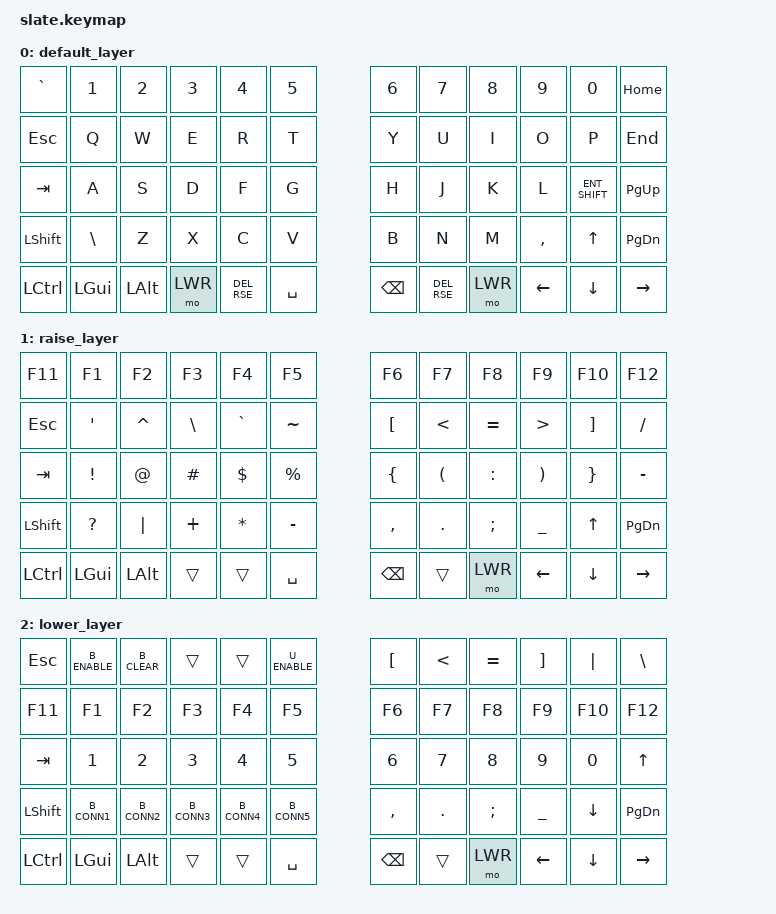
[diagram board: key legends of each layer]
#include <behaviors.dtsi>
#include <dt-bindings/zmk/keys.h>
#include <dt-bindings/zmk/bt.h>
#include <dt-bindings/zmk/outputs.h>

#define DEFAULT 0
#define RSE 1
#define LWR 2

/* tap-hold combos */
#define ENT_SHIFT   mt LSHFT  ENTER       /* tap=Enter, hold=Shift */
#define DEL_RSE     lt  RSE    DEL         /* tap=Delete, hold=Raise */

/* other shortcuts */
#define U_ENABLE    out OUT_USB
#define B_ENABLE    out OUT_BLE
#define B_CLEAR     bt  BT_CLR
#define B_CONN1     bt  BT_SEL 0
#define B_CONN2     bt  BT_SEL 1
#define B_CONN3     bt  BT_SEL 2
#define B_CONN4     bt  BT_SEL 3
#define B_CONN5     bt  BT_SEL 4

/ {
    keymap {
        compatible = "zmk,keymap";
        
        default_layer {
            bindings = <
                &kp GRAVE   &kp N1     &kp N2    &kp N3    &kp N4        &kp N5                  &kp N6     &kp N7     &kp N8     &kp N9     &kp N0      &kp HOME
                &kp ESC     &kp Q      &kp W     &kp E     &kp R         &kp T                   &kp Y      &kp U      &kp I      &kp O      &kp P       &kp END
                &kp TAB     &kp A      &kp S     &kp D     &kp F         &kp G                   &kp H      &kp J      &kp K      &kp L      &ENT_SHIFT  &kp PG_UP
                &kp LSHFT   &kp BSLH   &kp Z     &kp X     &kp C         &kp V                   &kp B      &kp N      &kp M      &kp COMMA  &kp UP      &kp PG_DN
                &kp LCTRL   &kp LGUI   &kp LALT  &mo LWR   &DEL_RSE      &kp SPACE               &kp BSPC   &DEL_RSE   &mo LWR    &kp LEFT   &kp DOWN    &kp RIGHT
            >;
        };
        
        raise_layer {
            bindings = <
                &kp F11     &kp F1     &kp F2     &kp F3     &kp F4     &kp F5                 &kp F6     &kp F7     &kp F8     &kp F9     &kp F10    &kp F12
                &kp ESC     &kp APOS   &kp CARET  &kp BSLH   &kp GRAVE  &kp TILDE              &kp LBKT   &kp LT     &kp EQL    &kp GT     &kp RBKT   &kp FSLH
                &kp TAB     &kp EXCL   &kp AT     &kp HASH   &kp DLLR   &kp PRCNT              &kp LBRC   &kp LPAR   &kp COLON  &kp RPAR   &kp RBRC   &kp MINUS
                &kp LSHFT   &kp QMARK  &kp PIPE   &kp PLUS   &kp STAR   &kp MINUS              &kp COMMA  &kp DOT    &kp SEMI   &kp UNDER  &kp UP     &kp PG_DN
                &kp LCTRL   &kp LGUI   &kp LALT   &trans     &trans     &kp SPACE              &kp BSPC   &trans     &mo LWR    &kp LEFT   &kp DOWN   &kp RIGHT
            >;
        };

        lower_layer {
            bindings = <
                &kp ESC     &B_ENABLE  &B_CLEAR   &trans     &trans     &U_ENABLE              &kp LBKT   &kp LT     &kp EQL    &kp RBKT   &kp PIPE   &kp BSLH
                &kp F11     &kp F1     &kp F2     &kp F3     &kp F4     &kp F5                 &kp F6     &kp F7     &kp F8     &kp F9     &kp F10    &kp F12
                &kp TAB     &kp N1     &kp N2     &kp N3     &kp N4     &kp N5                 &kp N6     &kp N7     &kp N8     &kp N9     &kp N0     &kp UP
                &kp LSHFT   &B_CONN1   &B_CONN2   &B_CONN3   &B_CONN4   &B_CONN5               &kp COMMA  &kp DOT    &kp SEMI   &kp UNDER  &kp DOWN   &kp PG_DN
                &kp LCTRL   &kp LGUI   &kp LALT   &trans     &trans     &kp SPACE              &kp BSPC   &trans     &mo LWR    &kp LEFT   &kp DOWN   &kp RIGHT
            >;
        };
    };
};
